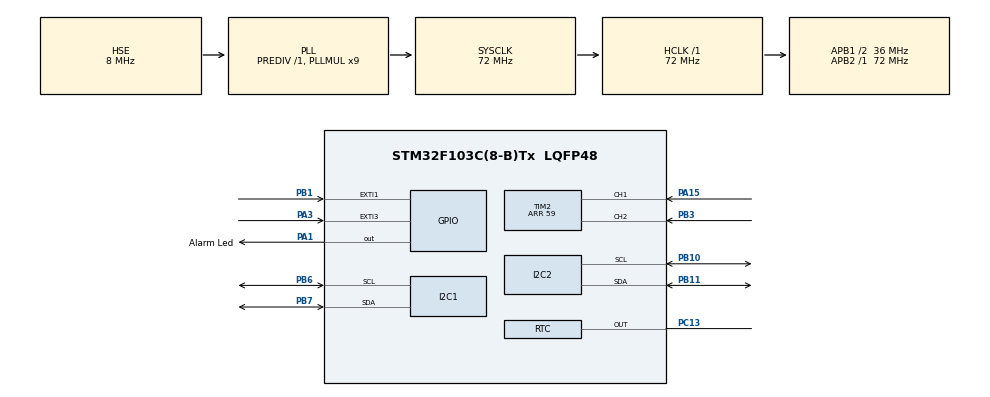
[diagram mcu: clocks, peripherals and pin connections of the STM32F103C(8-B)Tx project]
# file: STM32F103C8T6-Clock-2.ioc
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I2C1.I2C_Mode=I2C_Fast
I2C2.I2C_Mode=I2C_Fast
Mcu.Family=STM32F1
Mcu.Name=STM32F103C(8-B)Tx
Mcu.Package=LQFP48
NVIC.EXTI1_IRQn=true\:0\:0\:false\:false\:true\:true\:true\:true
NVIC.EXTI3_IRQn=true\:0\:0\:false\:false\:true\:true\:true\:true
NVIC.PriorityGroup=NVIC_PRIORITYGROUP_4
NVIC.RTC_Alarm_IRQn=true\:0\:0\:false\:false\:true\:true\:true\:true
PA1.GPIO_Label=Alarm Led
PA1.Signal=GPIO_Output
PA13.Mode=Serial_Wire
PA13.Signal=SYS_JTMS-SWDIO
PA14.Mode=Serial_Wire
PA14.Signal=SYS_JTCK-SWCLK
PA15.Signal=S_TIM2_CH1_ETR
PA3.Signal=GPXTI3
PB1.GPIO_PuPd=GPIO_NOPULL
PB1.Signal=GPXTI1
PB10.Mode=I2C
PB10.Signal=I2C2_SCL
PB11.Mode=I2C
PB11.Signal=I2C2_SDA
PB3.Signal=S_TIM2_CH2
PB6.Mode=I2C
PB6.Signal=I2C1_SCL
PB7.Mode=I2C
PB7.Signal=I2C1_SDA
PC13-TAMPER-RTC.Mode=RTC OUT
PC13-TAMPER-RTC.Signal=RTC_OUT
PC14-OSC32_IN.Mode=LSE-External-Oscillator
PC14-OSC32_IN.Signal=RCC_OSC32_IN
PC15-OSC32_OUT.Mode=LSE-External-Oscillator
PC15-OSC32_OUT.Signal=RCC_OSC32_OUT
PD0-OSC_IN.Mode=HSE-External-Oscillator
PD0-OSC_IN.Signal=RCC_OSC_IN
PD1-OSC_OUT.Mode=HSE-External-Oscillator
PD1-OSC_OUT.Signal=RCC_OSC_OUT
ProjectManager.HeapSize=0x200
ProjectManager.StackSize=0x400
ProjectManager.TargetToolchain=STM32CubeIDE
RCC.AHBFreq_Value=72000000
RCC.APB1CLKDivider=RCC_HCLK_DIV2
RCC.APB1Freq_Value=36000000
RCC.APB1TimFreq_Value=72000000
RCC.APB2Freq_Value=72000000
RCC.APB2TimFreq_Value=72000000
RCC.HCLKFreq_Value=72000000
RCC.PLLMUL=RCC_PLL_MUL9
RCC.PLLSourceVirtual=RCC_PLLSOURCE_HSE
RCC.RTCClockSelection=RCC_RTCCLKSOURCE_LSE
RCC.SYSCLKFreq_VALUE=72000000
RCC.SYSCLKSource=RCC_SYSCLKSOURCE_PLLCLK
RCC.USBFreq_Value=72000000
SH.S_TIM2_CH1_ETR.0=TIM2_CH1,Encoder_Interface
SH.S_TIM2_CH2.0=TIM2_CH2,Encoder_Interface
TIM2.EncoderMode=TIM_ENCODERMODE_TI1
TIM2.Period=59
VP_RTC_VS_RTC_Activate.Mode=RTC_Enabled
VP_RTC_VS_RTC_Calendar.Mode=RTC_Calendar
board=custom

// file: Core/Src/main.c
/* USER CODE BEGIN Header */
/**
  ******************************************************************************
  * @file           : main.c
  * @brief          : Main program body
  ******************************************************************************
  * @attention
  *
  * Copyright (c) 2024 STMicroelectronics.
  * All rights reserved.
  *
  * This software is licensed under terms that can be found in the LICENSE file
  * in the root directory of this software component.
  * If no LICENSE file comes with this software, it is provided AS-IS.
  *
  ******************************************************************************
  */
/* USER CODE END Header */
#include "main.h"

/* USER CODE BEGIN Includes */
#include "ssd1306.h"
#include "ssd1306_tests.h"
#include "ssd1306_fonts.h"
#include <stdio.h>
#include "BME280_STM32.h"

/* USER CODE END Includes */

I2C_HandleTypeDef hi2c1;
I2C_HandleTypeDef hi2c2;

RTC_HandleTypeDef hrtc;

TIM_HandleTypeDef htim2;

/* USER CODE BEGIN PV */
float Temperature, Pressure, Humidity;

uint8_t counterMode = 0;
uint8_t isAlarm = 0;
uint8_t alarmIsSet = 0;

uint8_t activeScreen = 0;
uint8_t screenTime = 0;
uint8_t screenWeather = 1;
uint8_t screenTimer = 2;
uint8_t screenMenu = 3;
uint8_t screenSetTime = 4;

uint8_t activeMenuOption = 0;
uint8_t menuSetTime = 0;
uint8_t menuSetDate = 1;

uint8_t activeSetTimeOption = 0;
//options names
uint8_t setTimeSecondsOption = 0;
uint8_t setTimeMinutesOption = 1;
uint8_t setTimeHoursOption = 2;
//values
uint8_t setTimeHours = 0;
uint8_t setTimeMinutes = 0;
uint8_t setTimeSeconds = 0;

uint8_t counter = 0;
uint8_t prevCounter = 0;
uint8_t encoderPrevState = 0;

uint8_t alarmIterations = 0;

RTC_TimeTypeDef sTime = {0};
RTC_DateTypeDef DateToUpdate = {0};
RTC_AlarmTypeDef sAlarm = {0};
RTC_DateTypeDef sDate = {0};

uint8_t Decimal_To_BCD(uint8_t val) {
    return ((val / 10) << 4) | (val % 10);
}

uint8_t BCD_To_Decimal(uint8_t bcd) {
   return ((bcd >> 4) * 10) + (bcd & 0x0F);
}

/* USER CODE END PV */

void SystemClock_Config(void);
static void MX_GPIO_Init(void);
static void MX_I2C1_Init(void);
static void MX_RTC_Init(void);
static void MX_TIM2_Init(void);
static void MX_I2C2_Init(void);

int main(void)
{

  /* MCU Configuration--------------------------------------------------------*/

  /* Reset of all peripherals, Initializes the Flash interface and the Systick. */
  HAL_Init();

  /* Configure the system clock */
  SystemClock_Config();

  /* Initialize all configured peripherals */
  MX_GPIO_Init();
  MX_I2C1_Init();
  MX_RTC_Init();
  MX_TIM2_Init();
  MX_I2C2_Init();
  /* USER CODE BEGIN 2 */
  BME280_Config(OSRS_2, OSRS_16, OSRS_1, MODE_NORMAL, T_SB_0p5, IIR_16);
  ssd1306_Init();
  HAL_TIM_Encoder_Start(&htim2, TIM_CHANNEL_ALL);

  void checkShouldGoToTimer()
  {
    uint8_t rawCounter = __HAL_TIM_GET_COUNTER(&htim2);

    if (rawCounter != prevCounter)
    {
      activeScreen = screenTimer;
      prevCounter = rawCounter;
    }
  }

  void printTimeScreen()
  {
	  checkShouldGoToTimer();

	  HAL_RTC_GetTime(&hrtc, &sTime, FORMAT_BCD);
	  HAL_RTC_GetDate(&hrtc, &DateToUpdate, FORMAT_BCD);
	  uint8_t timeHours = BCD_To_Decimal(sTime.Hours);
	  uint8_t timeMinutes = BCD_To_Decimal(sTime.Minutes);
	  uint8_t timeSeconds = BCD_To_Decimal(sTime.Seconds);

	  char bufferHours[4];
	  sprintf(bufferHours, "%02d", timeHours);
	  char bufferMin[4];
	  sprintf(bufferMin, "%02d", timeMinutes);
	  char bufferSec[4];
	  sprintf(bufferSec, "%02d", timeSeconds);

	  ssd1306_SetCursor(0, 0);
	  ssd1306_WriteScaledString(bufferHours, Font_16x26, White, 1.6, 1.6);
	  ssd1306_SetCursor(47, 0);
	  ssd1306_WriteScaledString(":", Font_16x26, White, 1.6, 1.6);
	  ssd1306_SetCursor(72, 0);
	  ssd1306_WriteScaledString(bufferMin, Font_16x26, White, 1.6, 1.6);

	  ssd1306_FillRectangle(0, 51, timeSeconds * 2, 55, White);
  }

  void printWeatherScreen()
  {
	  BME280_Measure();
	  HAL_Delay(100);

	  char bufferTemp[10];
      // added -1 to temperature in order not to calibrate it))
	  snprintf(bufferTemp, sizeof(bufferTemp), "%04.1f C", Temperature - 1);

	  char bufferPres[15];
	  snprintf(bufferPres, sizeof(bufferPres), "%05.1f mmpc", Pressure / 133.322);

	  char bufferHum[10];
	  snprintf(bufferHum, sizeof(bufferHum), "%04.1f %%", Humidity);

	  ssd1306_SetCursor(0, 0);
	  ssd1306_WriteString(bufferTemp, Font_11x18, White);
	  ssd1306_SetCursor(0, 20);
	  ssd1306_WriteString(bufferHum, Font_11x18, White);
	  ssd1306_SetCursor(0, 40);
	  ssd1306_WriteString(bufferPres, Font_11x18, White);
  }

  void printTimerScreen()
  {
	  HAL_RTC_GetTime(&hrtc, &sTime, FORMAT_BCD);
	  HAL_RTC_GetDate(&hrtc, &DateToUpdate, FORMAT_BCD);

	  uint32_t rawCounter = __HAL_TIM_GET_COUNTER(&htim2);

    // For now counterMode is not used.
	  if (counterMode == 0) {
		  counter = rawCounter;
	  } else {
      if (rawCounter == 13) {
        __HAL_TIM_SET_COUNTER(&htim2, 1); // 12 * 5 = 60
        counter = 0;
      } else if (rawCounter == 0) {
        __HAL_TIM_SET_COUNTER(&htim2, 12); // 11 * 5 = 55
        counter = 55;
      } else {
        counter = (rawCounter - 1) * 5;
      }
	  }

	  uint8_t timerSeconds = BCD_To_Decimal(sAlarm.AlarmTime.Seconds);
	  uint8_t timeSeconds = BCD_To_Decimal(sTime.Seconds);
	  uint8_t timerMinutes = BCD_To_Decimal(sAlarm.AlarmTime.Minutes);
	  uint8_t timeMinutes = BCD_To_Decimal(sTime.Minutes);
	  uint8_t timerHours = BCD_To_Decimal(sAlarm.AlarmTime.Hours);
	  uint8_t timeHours = BCD_To_Decimal(sTime.Hours);

    uint32_t totalSecondsAlarm = timerHours * 3600 + timerMinutes * 60 + timerSeconds;
    uint32_t totalSecondsCurrent = timeHours * 3600 + timeMinutes * 60 + timeSeconds;
    uint32_t totalSecondsLeft = totalSecondsAlarm - totalSecondsCurrent;

    uint8_t fullMinutesLeft = (totalSecondsLeft / 60) % 60;
    uint8_t secondsLeft = totalSecondsLeft % 60;

	  char bufferEncoderOrTimer[8];
	  sprintf(bufferEncoderOrTimer, "%02d", alarmIsSet ? fullMinutesLeft : counter);
	  char bufferSecondsLeft[4];
	  sprintf(bufferSecondsLeft, "%02d", secondsLeft);

	  ssd1306_SetCursor(00, 0);
	  ssd1306_WriteScaledString(bufferEncoderOrTimer, Font_16x26, White, 1.6, 1.6);
	  ssd1306_SetCursor(47, 0);
	  ssd1306_WriteScaledString(alarmIsSet ? ":" : "", Font_16x26, White, 1.6, 1.6);
	  ssd1306_SetCursor(72, 0);
	  ssd1306_WriteScaledString(alarmIsSet ? bufferSecondsLeft : "", Font_16x26, White, 1.6, 1.6);
	  ssd1306_SetCursor(3, 45);
	  ssd1306_WriteString("min", Font_11x18, White);
	  ssd1306_SetCursor(75, 45);
	  ssd1306_WriteString(alarmIsSet ? "sec" : "", Font_11x18, White);
  }

  void printMenuScreen()
  {
		uint8_t rawCounter = __HAL_TIM_GET_COUNTER(&htim2);

		if (rawCounter != prevCounter)
		{

			if (activeMenuOption == menuSetTime)
			{
				activeMenuOption = menuSetDate;
			} else {
				activeMenuOption = menuSetTime;
			}

			prevCounter = rawCounter;
		}

    ssd1306_SetCursor(0, 0);
    ssd1306_FillRectangle(0, 0, 128, 20, activeMenuOption == menuSetTime ? White : Black);
    ssd1306_WriteString("Set Time", Font_11x18, activeMenuOption == menuSetTime ? Black : White);

    ssd1306_SetCursor(0, 25);
    ssd1306_FillRectangle(0, 25, 128, 20, activeMenuOption == menuSetDate ? White : Black);
    ssd1306_WriteString("Set Date", Font_11x18, activeMenuOption == menuSetDate ? Black : White);
  }

  void printSetTimeScreen()
  {
	  uint8_t rawCounter = __HAL_TIM_GET_COUNTER(&htim2);

	  if (activeSetTimeOption == setTimeSecondsOption) {
		  setTimeSeconds = rawCounter;
	  } else if (activeSetTimeOption == setTimeMinutesOption) {
		  setTimeMinutes = rawCounter;
	  } else if (activeSetTimeOption == setTimeHoursOption) {
		  setTimeHours = rawCounter;
	  }

	  char bufferHours[4];
	  sprintf(bufferHours, "%02d", setTimeHours);
	  char bufferMin[4];
	  sprintf(bufferMin, "%02d", setTimeMinutes);
	  char bufferSec[4];
	  sprintf(bufferSec, "%02d", setTimeSeconds);

	  ssd1306_SetCursor(0, 0);
	  ssd1306_WriteString(bufferHours, Font_16x26, White);
	  ssd1306_SetCursor(35, 0);
	  ssd1306_WriteString(":", Font_16x26, White);
	  ssd1306_SetCursor(55, 0);
	  ssd1306_WriteString(bufferMin, Font_16x26, White);
	  ssd1306_SetCursor(95, 0);
	  ssd1306_WriteString(bufferSec, Font_7x10, White);
  }

  void checkAlarm()
  {
    if (isAlarm == 1)
    {
      alarmIterations++;

      if ((alarmIterations % 2) == 0)
      {
        // A1 - buzzer + LED
        HAL_GPIO_TogglePin(GPIOA, GPIO_PIN_1);
      }
    } else {
      HAL_GPIO_WritePin(GPIOA, GPIO_PIN_1, 0);
    }
  }

  /* USER CODE END 2 */

  /* Infinite loop */
  /* USER CODE BEGIN WHILE */

  while (1)
  {
	  ssd1306_Fill(Black);

	  if (activeScreen == screenTime)
	  {
		  printTimeScreen();
	  } else if (activeScreen == screenWeather)
	  {
		  printWeatherScreen();
	  } else if (activeScreen == screenTimer)
	  {
		  printTimerScreen();
	  } else if (activeScreen == screenMenu)
	  {
		  printMenuScreen();
	  } else if (activeScreen == screenSetTime)
	  {
		  printSetTimeScreen();
	  }

	  ssd1306_UpdateScreen();

	  checkAlarm();

    /* USER CODE END WHILE */

  }
}

void SystemClock_Config(void)
{
  RCC_OscInitTypeDef RCC_OscInitStruct = {0};
  RCC_ClkInitTypeDef RCC_ClkInitStruct = {0};
  RCC_PeriphCLKInitTypeDef PeriphClkInit = {0};

  /** Initializes the RCC Oscillators according to the specified parameters
  * in the RCC_OscInitTypeDef structure.
  */
  RCC_OscInitStruct.OscillatorType = RCC_OSCILLATORTYPE_HSE|RCC_OSCILLATORTYPE_LSE;
  RCC_OscInitStruct.HSEState = RCC_HSE_ON;
  RCC_OscInitStruct.HSEPredivValue = RCC_HSE_PREDIV_DIV1;
  RCC_OscInitStruct.LSEState = RCC_LSE_ON;
  RCC_OscInitStruct.HSIState = RCC_HSI_ON;
  RCC_OscInitStruct.PLL.PLLState = RCC_PLL_ON;
  RCC_OscInitStruct.PLL.PLLSource = RCC_PLLSOURCE_HSE;
  RCC_OscInitStruct.PLL.PLLMUL = RCC_PLL_MUL9;
  if (HAL_RCC_OscConfig(&RCC_OscInitStruct) != HAL_OK)
  {
    Error_Handler();
  }

  /** Initializes the CPU, AHB and APB buses clocks
  */
  RCC_ClkInitStruct.ClockType = RCC_CLOCKTYPE_HCLK|RCC_CLOCKTYPE_SYSCLK
                              |RCC_CLOCKTYPE_PCLK1|RCC_CLOCKTYPE_PCLK2;
  RCC_ClkInitStruct.SYSCLKSource = RCC_SYSCLKSOURCE_PLLCLK;
  RCC_ClkInitStruct.AHBCLKDivider = RCC_SYSCLK_DIV1;
  RCC_ClkInitStruct.APB1CLKDivider = RCC_HCLK_DIV2;
  RCC_ClkInitStruct.APB2CLKDivider = RCC_HCLK_DIV1;

  if (HAL_RCC_ClockConfig(&RCC_ClkInitStruct, FLASH_LATENCY_2) != HAL_OK)
  {
    Error_Handler();
  }
  PeriphClkInit.PeriphClockSelection = RCC_PERIPHCLK_RTC;
  PeriphClkInit.RTCClockSelection = RCC_RTCCLKSOURCE_LSE;
  if (HAL_RCCEx_PeriphCLKConfig(&PeriphClkInit) != HAL_OK)
  {
    Error_Handler();
  }
}

static void MX_I2C1_Init(void)
{

  hi2c1.Instance = I2C1;
  hi2c1.Init.ClockSpeed = 400000;
  hi2c1.Init.DutyCycle = I2C_DUTYCYCLE_2;
  hi2c1.Init.OwnAddress1 = 0;
  hi2c1.Init.AddressingMode = I2C_ADDRESSINGMODE_7BIT;
  hi2c1.Init.DualAddressMode = I2C_DUALADDRESS_DISABLE;
  hi2c1.Init.OwnAddress2 = 0;
  hi2c1.Init.GeneralCallMode = I2C_GENERALCALL_DISABLE;
  hi2c1.Init.NoStretchMode = I2C_NOSTRETCH_DISABLE;
  if (HAL_I2C_Init(&hi2c1) != HAL_OK)
  {
    Error_Handler();
  }

}

static void MX_I2C2_Init(void)
{

  hi2c2.Instance = I2C2;
  hi2c2.Init.ClockSpeed = 400000;
  hi2c2.Init.DutyCycle = I2C_DUTYCYCLE_2;
  hi2c2.Init.OwnAddress1 = 0;
  hi2c2.Init.AddressingMode = I2C_ADDRESSINGMODE_7BIT;
  hi2c2.Init.DualAddressMode = I2C_DUALADDRESS_DISABLE;
  hi2c2.Init.OwnAddress2 = 0;
  hi2c2.Init.GeneralCallMode = I2C_GENERALCALL_DISABLE;
  hi2c2.Init.NoStretchMode = I2C_NOSTRETCH_DISABLE;
  if (HAL_I2C_Init(&hi2c2) != HAL_OK)
  {
    Error_Handler();
  }

}

static void MX_RTC_Init(void)
{

//  RTC_TimeTypeDef sTime = {0};
//  RTC_DateTypeDef DateToUpdate = {0};
//  RTC_AlarmTypeDef sAlarm = {0};

  /** Initialize RTC Only
  */
  hrtc.Instance = RTC;
  hrtc.Init.AsynchPrediv = RTC_AUTO_1_SECOND;
  hrtc.Init.OutPut = RTC_OUTPUTSOURCE_ALARM;
  if (HAL_RTC_Init(&hrtc) != HAL_OK)
  {
    Error_Handler();
  }

  /* USER CODE BEGIN Check_RTC_BKUP */

  uint32_t backup_val = HAL_RTCEx_BKUPRead(&hrtc, RTC_BKP_DR1);
  if (backup_val != 0x32F2)
  {
	  /* USER CODE END Check_RTC_BKUP */

	  /** Initialize RTC and set the Time and Date
	  */
	  sTime.Hours = 0x0;
	  sTime.Minutes = 0x0;
	  sTime.Seconds = 0x0;

	  if (HAL_RTC_SetTime(&hrtc, &sTime, RTC_FORMAT_BCD) != HAL_OK)
	  {
		Error_Handler();
	  }
	  DateToUpdate.WeekDay = RTC_WEEKDAY_MONDAY;
	  DateToUpdate.Month = RTC_MONTH_JANUARY;
	  DateToUpdate.Date = 0x1;
	  DateToUpdate.Year = 0x0;

	  if (HAL_RTC_SetDate(&hrtc, &DateToUpdate, RTC_FORMAT_BCD) != HAL_OK)
	  {
		Error_Handler();
	  }

	  /** Enable the Alarm A
	  */
	  sAlarm.AlarmTime.Hours = 0x0;
	  sAlarm.AlarmTime.Minutes = 0x0;
	  sAlarm.AlarmTime.Seconds = 0x0;
	  sAlarm.Alarm = RTC_ALARM_A;
	  if (HAL_RTC_SetAlarm_IT(&hrtc, &sAlarm, RTC_FORMAT_BCD) != HAL_OK)
	  {
		Error_Handler();
	  }
	  /* USER CODE BEGIN RTC_Init 2 */

  HAL_RTCEx_BKUPWrite(&hrtc, RTC_BKP_DR1, 0x32F2);
} else {
	// do not initialize if we get data from backup
}
  /* USER CODE END RTC_Init 2 */

}

static void MX_TIM2_Init(void)
{

  TIM_Encoder_InitTypeDef sConfig = {0};
  TIM_MasterConfigTypeDef sMasterConfig = {0};

  htim2.Instance = TIM2;
  htim2.Init.Prescaler = 0;
  htim2.Init.CounterMode = TIM_COUNTERMODE_UP;
  htim2.Init.Period = 59;
  htim2.Init.ClockDivision = TIM_CLOCKDIVISION_DIV1;
  htim2.Init.AutoReloadPreload = TIM_AUTORELOAD_PRELOAD_DISABLE;
  sConfig.EncoderMode = TIM_ENCODERMODE_TI1;
  sConfig.IC1Polarity = TIM_ICPOLARITY_RISING;
  sConfig.IC1Selection = TIM_ICSELECTION_DIRECTTI;
  sConfig.IC1Prescaler = TIM_ICPSC_DIV1;
  sConfig.IC1Filter = 0;
  sConfig.IC2Polarity = TIM_ICPOLARITY_RISING;
  sConfig.IC2Selection = TIM_ICSELECTION_DIRECTTI;
  sConfig.IC2Prescaler = TIM_ICPSC_DIV1;
  sConfig.IC2Filter = 0;
  if (HAL_TIM_Encoder_Init(&htim2, &sConfig) != HAL_OK)
  {
    Error_Handler();
  }
  sMasterConfig.MasterOutputTrigger = TIM_TRGO_RESET;
  sMasterConfig.MasterSlaveMode = TIM_MASTERSLAVEMODE_DISABLE;
  if (HAL_TIMEx_MasterConfigSynchronization(&htim2, &sMasterConfig) != HAL_OK)
  {
    Error_Handler();
  }

}

static void MX_GPIO_Init(void)
{
  GPIO_InitTypeDef GPIO_InitStruct = {0};

  /* GPIO Ports Clock Enable */
  __HAL_RCC_GPIOC_CLK_ENABLE();
  __HAL_RCC_GPIOD_CLK_ENABLE();
  __HAL_RCC_GPIOA_CLK_ENABLE();
  __HAL_RCC_GPIOB_CLK_ENABLE();

  /*Configure GPIO pin Output Level */
  HAL_GPIO_WritePin(Alarm_Led_GPIO_Port, Alarm_Led_Pin, GPIO_PIN_RESET);

  /*Configure GPIO pin : Alarm_Led_Pin */
  GPIO_InitStruct.Pin = Alarm_Led_Pin;
  GPIO_InitStruct.Mode = GPIO_MODE_OUTPUT_PP;
  GPIO_InitStruct.Pull = GPIO_NOPULL;
  GPIO_InitStruct.Speed = GPIO_SPEED_FREQ_LOW;
  HAL_GPIO_Init(Alarm_Led_GPIO_Port, &GPIO_InitStruct);

  /*Configure GPIO pin : PA3 */
  GPIO_InitStruct.Pin = GPIO_PIN_3;
  GPIO_InitStruct.Mode = GPIO_MODE_IT_RISING;
  GPIO_InitStruct.Pull = GPIO_NOPULL;
  HAL_GPIO_Init(GPIOA, &GPIO_InitStruct);

  /*Configure GPIO pin : PB1 */
  GPIO_InitStruct.Pin = GPIO_PIN_1;
  GPIO_InitStruct.Mode = GPIO_MODE_IT_RISING;
  GPIO_InitStruct.Pull = GPIO_NOPULL;
  HAL_GPIO_Init(GPIOB, &GPIO_InitStruct);

  /* EXTI interrupt init*/
  HAL_NVIC_SetPriority(EXTI1_IRQn, 0, 0);
  HAL_NVIC_EnableIRQ(EXTI1_IRQn);

  HAL_NVIC_SetPriority(EXTI3_IRQn, 0, 0);
  HAL_NVIC_EnableIRQ(EXTI3_IRQn);

}

/* USER CODE BEGIN 4 */

void Set_RTC_Alarm(uint32_t timerMinutes)
{
  // Get the current time and date
  HAL_RTC_GetTime(&hrtc, &sTime, RTC_FORMAT_BCD);
  // Needed to read date as well due to a quirk
  HAL_RTC_GetDate(&hrtc, &sDate, RTC_FORMAT_BCD);

  // Calculate the new alarm time
  uint32_t minutes = BCD_To_Decimal(sTime.Minutes) + timerMinutes;
  uint32_t new_minutes = minutes % 60;
  uint32_t new_hours = (BCD_To_Decimal(sTime.Hours) + (minutes / 60)) % 24;

  sAlarm.AlarmTime.Hours = Decimal_To_BCD(new_hours);
  sAlarm.AlarmTime.Minutes = Decimal_To_BCD(new_minutes);
  sAlarm.AlarmTime.Seconds = sTime.Seconds;

  // Set the alarm
  if (HAL_RTC_SetAlarm_IT(&hrtc, &sAlarm, RTC_FORMAT_BCD) != HAL_OK)
  {
    // Initialization Error
    Error_Handler();
  }

  // Clear encoder counter
  __HAL_TIM_SET_COUNTER(&htim2, 0);
}

void Clear_RTC_Alarm()
{
	HAL_RTC_GetTime(&hrtc, &sTime, RTC_FORMAT_BCD);

	sAlarm.AlarmTime.Hours = sTime.Hours;
	sAlarm.AlarmTime.Minutes = sTime.Minutes;
	sAlarm.AlarmTime.Seconds = sTime.Seconds;

	isAlarm = 0;
	alarmIsSet = 0;
}

volatile uint32_t lastInterruptTime1 = 0;
volatile uint32_t lastInterruptTime3 = 0;

void HAL_GPIO_EXTI_Callback(uint16_t GPIO_Pin)
{

	if (isAlarm == 1) {
		Clear_RTC_Alarm();
	}	else {
		uint32_t currentTime = HAL_GetTick();

		//	Button 1
		if (GPIO_Pin == GPIO_PIN_3)
		{
			if (currentTime - lastInterruptTime3 > 300)
			{
				if (activeScreen == screenTimer)
				{
					uint8_t rawCounter = __HAL_TIM_GET_COUNTER(&htim2);

					if (rawCounter != 0) {
						if (alarmIsSet == 1) {
							Clear_RTC_Alarm();
						} else {
							Set_RTC_Alarm(rawCounter);
							alarmIsSet = 1;
						}
					} else {
						Clear_RTC_Alarm();
					}
				} else {
					if (activeScreen == screenSetTime) {
						activeScreen = screenMenu;
					} else if (activeScreen == screenMenu) {
						activeScreen = screenTime;
					} else if (activeScreen == screenTime) {
						activeScreen = screenMenu;
					}
				}

				lastInterruptTime3 = currentTime;
			}
		}

		//	Button 2
		if (GPIO_Pin == GPIO_PIN_1)
		{
			if (currentTime - lastInterruptTime1 > 300)
			{
				if (activeScreen == screenTimer)
				{
					activeScreen = screenTime;
				} else if (activeScreen == screenWeather)
				{
					activeScreen = screenTimer;
				} else if (activeScreen == screenTime)
				{
					activeScreen = screenWeather;
				} else if (activeScreen == screenMenu)
				{
					if (activeMenuOption == menuSetTime)
					{
						activeScreen = screenSetTime;
					}
				} else if (activeScreen == screenSetTime) {
					  if (activeSetTimeOption == setTimeSecondsOption) {
						  sTime.Seconds = Decimal_To_BCD(setTimeSeconds);
						  __HAL_TIM_SET_COUNTER(&htim2, 0);
						  activeSetTimeOption = setTimeMinutesOption;
					  } else if (activeSetTimeOption == setTimeMinutesOption) {
						  sTime.Minutes = Decimal_To_BCD(setTimeMinutes);
						  __HAL_TIM_SET_COUNTER(&htim2, 0);
						  activeSetTimeOption = setTimeHoursOption;
					  } else if (activeSetTimeOption == setTimeHoursOption) {
						  sTime.Hours = Decimal_To_BCD(setTimeHours);
						  __HAL_TIM_SET_COUNTER(&htim2, 0);
						  HAL_RTC_SetTime(&hrtc, &sTime, FORMAT_BCD);
						  activeSetTimeOption = setTimeSecondsOption;
						  activeScreen = screenMenu;
					  }
				}

				lastInterruptTime1 = currentTime;
			}
		}
	}
}

void HAL_RTC_AlarmAEventCallback(RTC_HandleTypeDef *hrtc)
{
	if (alarmIsSet == 1) {
		isAlarm = 1;
		alarmIsSet = 0;
	}
}

/* USER CODE END 4 */

void Error_Handler(void)
{
  __disable_irq();
  while (1)
  {
  }
}
